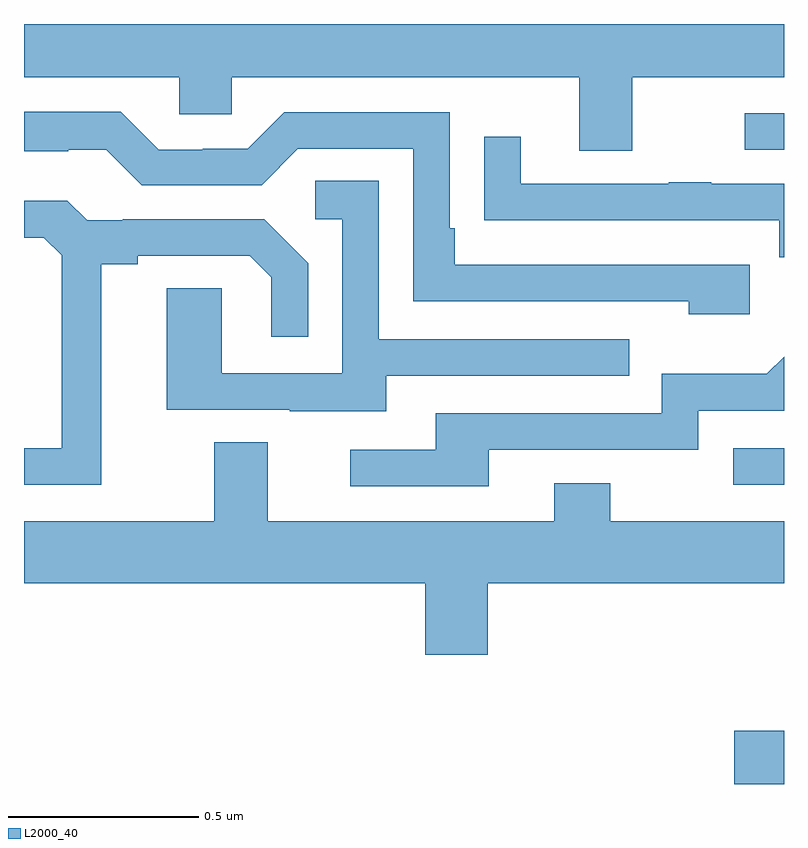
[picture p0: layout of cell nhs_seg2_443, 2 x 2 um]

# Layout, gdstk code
import gdstk
lib = gdstk.Library(unit=1e-6, precision=1e-09)
def R(c, l, rs):  # rectangles x0, y0, x1, y1
    for r in rs: c.add(gdstk.rectangle(r[:2], r[2:], *l))
def P(c, l, *ps):  # polygons
    for p in ps: c.add(gdstk.Polygon(p, *l))
L2000_40 = (2000, 40)

nhs_seg2_443 = lib.new_cell('nhs_seg2_443')
R(nhs_seg2_443, L2000_40, [(117.869,621.8,118,621.94), (117.867,622.587,118,622.683), (117.897,623.469,118,623.565)])
P(nhs_seg2_443, L2000_40, [(117.601,623.66),(118,623.66),(118,623.8),(116,623.8),(116,623.66),(116.409,623.66),(116.409,623.562),(116.547,623.562),(116.547,623.66),(117.461,623.66),(117.461,623.466),(117.601,623.466)],
  [(117.91,623.166),(117.133,623.166),(117.133,623.263),(117.12,623.263),(117.12,623.568),(116.685,623.568),(116.589,623.472),(116.471,623.472),(116.471,623.469),(116.355,623.469),(116.255,623.569),(116,623.569),(116,623.465),(116.117,623.465),(116.117,623.469),(116.217,623.469),(116.31,623.376),(116.625,623.376),(116.721,623.472),(117.024,623.472),(117.024,623.07),(117.749,623.07),(117.749,623.036),(117.91,623.036)],
  [(118,623.379),(117.809,623.379),(117.809,623.384),(117.697,623.384),(117.697,623.379),(117.307,623.379),(117.307,623.503),(117.211,623.503),(117.211,623.284),(117.313,623.284),(117.313,623.283),(117.988,623.283),(117.988,623.186),(118,623.186)],
  [(116.953,622.875),(117.593,622.875),(117.593,622.971),(116.934,622.971),(116.934,623.387),(116.766,623.387),(116.766,623.286),(116.838,623.286),(116.838,622.881),(116.52,622.881),(116.52,623.105),(116.375,623.105),(116.375,622.785),(116.699,622.785),(116.699,622.781),(116.953,622.781)],
  [(116.203,623.168),(116.299,623.168),(116.299,623.19),(116.594,623.19),(116.651,623.133),(116.651,622.977),(116.748,622.977),(116.748,623.17),(116.632,623.286),(116.26,623.286),(116.26,623.283),(116.166,623.283),(116.114,623.335),(116,623.335),(116,623.238),(116.052,623.238),(116.099,623.191),(116.099,622.683),(116,622.683),(116,622.587),(116.203,622.587)],
  [(117.223,622.68),(117.774,622.68),(117.774,622.782),(118,622.782),(118,622.924),(117.955,622.879),(117.678,622.879),(117.678,622.776),(117.083,622.776),(117.083,622.68),(116.859,622.68),(116.859,622.584),(117.223,622.584)],
  [(117.22,622.328),(118,622.328),(118,622.492),(117.543,622.492),(117.543,622.591),(117.395,622.591),(117.395,622.492),(116.641,622.492),(116.641,622.7),(116.501,622.7),(116.501,622.492),(116,622.492),(116,622.328),(117.056,622.328),(117.056,622.14),(117.22,622.14)])

lib.write_gds('nhs_seg2_443.gds')
